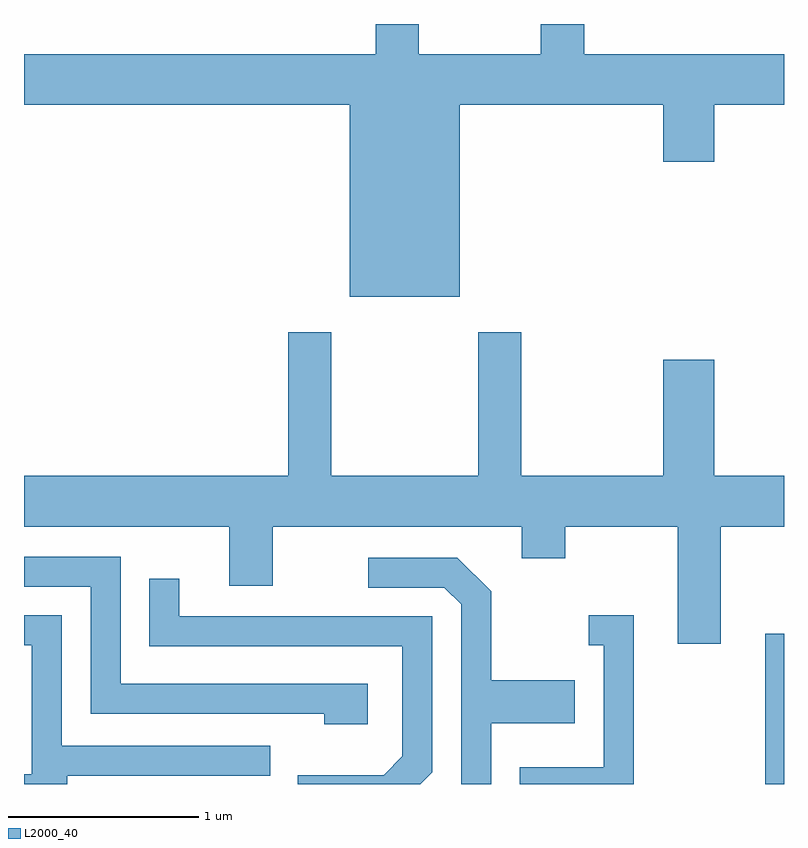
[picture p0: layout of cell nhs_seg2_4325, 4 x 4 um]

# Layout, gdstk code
import gdstk
lib = gdstk.Library(unit=1e-6, precision=1e-09)
def R(c, l, rs):  # rectangles x0, y0, x1, y1
    for r in rs: c.add(gdstk.rectangle(r[:2], r[2:], *l))
def P(c, l, *ps):  # polygons
    for p in ps: c.add(gdstk.Polygon(p, *l))
L2000_40 = (2000, 40)

nhs_seg2_4325 = lib.new_cell('nhs_seg2_4325')
R(nhs_seg2_4325, L2000_40, [(315.511,1095.802,315.611,1096.594)])
P(nhs_seg2_4325, L2000_40, [(313.904,1099.376),(314.976,1099.376),(314.976,1099.076),(315.244,1099.076),(315.244,1099.376),(315.611,1099.376),(315.611,1099.644),(314.559,1099.644),(314.559,1099.802),(314.331,1099.802),(314.331,1099.644),(313.689,1099.644),(313.689,1099.802),(313.461,1099.802),(313.461,1099.644),(311.611,1099.644),(311.611,1099.376),(313.326,1099.376),(313.326,1098.366),(313.904,1098.366)],
  [(315.279,1097.156),(315.611,1097.156),(315.611,1097.424),(315.244,1097.424),(315.244,1098.034),(314.976,1098.034),(314.976,1097.424),(314.229,1097.424),(314.229,1098.179),(314.001,1098.179),(314.001,1097.424),(313.229,1097.424),(313.229,1098.179),(313.001,1098.179),(313.001,1097.424),(311.611,1097.424),(311.611,1097.156),(312.691,1097.156),(312.691,1096.846),(312.919,1096.846),(312.919,1097.156),(314.231,1097.156),(314.231,1096.991),(314.459,1096.991),(314.459,1097.156),(315.051,1097.156),(315.051,1096.541),(315.279,1096.541)],
  [(313.419,1096.329),(312.119,1096.329),(312.119,1096.999),(311.611,1096.999),(311.611,1096.841),(311.961,1096.841),(311.961,1096.171),(313.191,1096.171),(313.191,1096.116),(313.419,1096.116)],
  [(314.069,1096.121),(314.509,1096.121),(314.509,1096.349),(314.069,1096.349),(314.069,1096.817),(313.892,1096.994),(313.423,1096.994),(313.423,1096.836),(313.824,1096.836),(313.911,1096.749),(313.911,1095.802),(314.069,1095.802)],
  [(313.759,1095.864),(313.759,1096.684),(312.429,1096.684),(312.429,1096.883),(312.271,1096.883),(312.271,1096.526),(313.601,1096.526),(313.601,1095.947),(313.504,1095.849),(313.051,1095.849),(313.051,1095.802),(313.697,1095.802)],
  [(311.839,1095.846),(312.908,1095.846),(312.908,1096.004),(311.809,1096.004),(311.809,1096.689),(311.611,1096.689),(311.611,1096.531),(311.651,1096.531),(311.651,1095.854),(311.611,1095.854),(311.611,1095.802),(311.839,1095.802)],
  [(314.819,1096.689),(314.583,1096.689),(314.583,1096.531),(314.661,1096.531),(314.661,1095.889),(314.221,1095.889),(314.221,1095.802),(314.819,1095.802)])

lib.write_gds('nhs_seg2_4325.gds')
